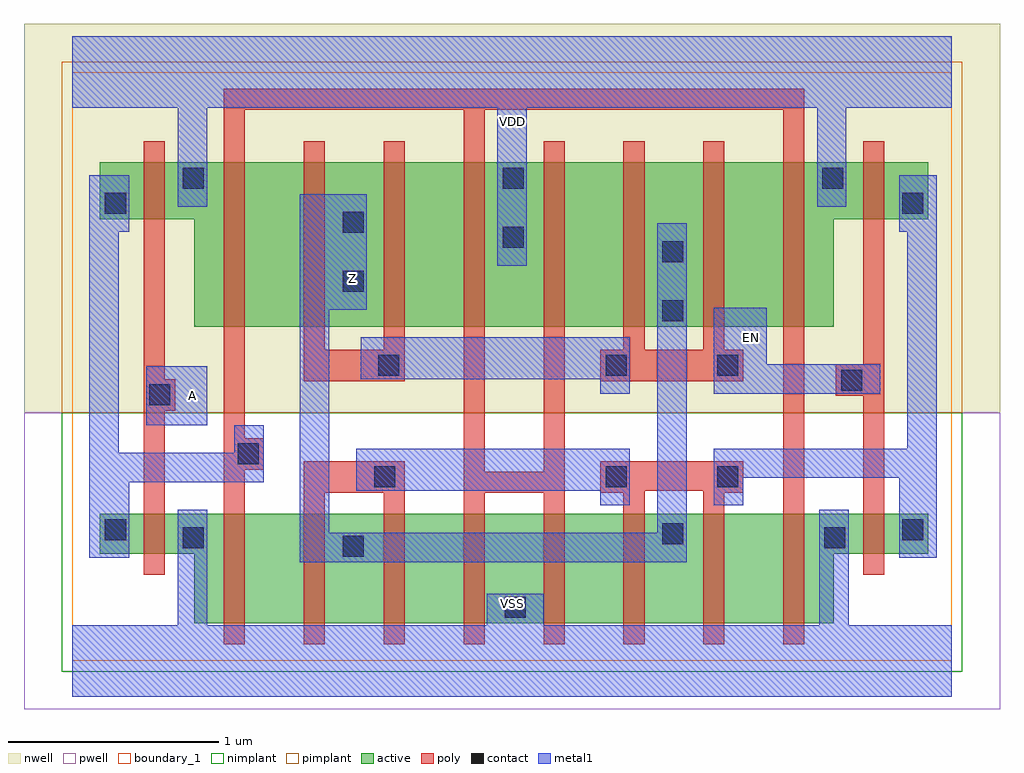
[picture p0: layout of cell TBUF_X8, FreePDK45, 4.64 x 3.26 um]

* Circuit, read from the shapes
.subckt TBUF_X8 A EN VDD VSS Z
M1 VSS A n1 VSUBS nfet w=0.19u l=0.1u
M2 n2 n1 VSS VSUBS nfet w=0.52u l=0.1u
M3 Z n3 n2 VSUBS nfet w=0.52u l=0.1u
M4 n4 n3 Z VSUBS nfet w=0.52u l=0.1u
M5 VSS n1 n4 VSUBS nfet w=0.52u l=0.1u
M6 n5 n1 VSS VSUBS nfet w=0.52u l=0.1u
M7 Z n3 n5 VSUBS nfet w=0.52u l=0.1u
M8 n6 n3 Z VSUBS nfet w=0.52u l=0.1u
M9 VSS n1 n6 VSUBS nfet w=0.52u l=0.1u
M10 n3 EN VSS VSUBS nfet w=0.19u l=0.1u
M11 VDD A n1 n7 pfet w=0.27u l=0.1u
M12 n8 n1 VDD n7 pfet w=0.78u l=0.1u
M13 Z EN n8 n7 pfet w=0.78u l=0.1u
M14 n9 EN Z n7 pfet w=0.78u l=0.1u
M15 VDD n1 n9 n7 pfet w=0.78u l=0.1u
M16 n10 n1 VDD n7 pfet w=0.78u l=0.1u
M17 Z EN n10 n7 pfet w=0.78u l=0.1u
M18 n11 EN Z n7 pfet w=0.78u l=0.1u
M19 VDD n1 n11 n7 pfet w=0.78u l=0.1u
M20 n3 EN VDD n7 pfet w=0.27u l=0.1u
.ends

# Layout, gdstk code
import gdstk
lib = gdstk.Library(unit=1e-6, precision=1e-09)
def R(c, l, rs):  # rectangles x0, y0, x1, y1
    for r in rs: c.add(gdstk.rectangle(r[:2], r[2:], *l))
def A(c, l, x, y, w, h, nx, ny, dx, dy):  # array of equal rectangles
    R(c, l, [(x+i*dx, y+j*dy, x+i*dx+w, y+j*dy+h) for i in range(nx) for j in range(ny)])
def P(c, l, *ps):  # polygons
    for p in ps: c.add(gdstk.Polygon(p, *l))
active = (1, 0)
pwell = (2, 0)
nwell = (3, 0)
nimplant = (4, 0)
pimplant = (5, 0)
poly = (9, 0)
contact = (10, 0)
metal1 = (11, 0)
boundary_1 = (235, 1)

tbuf_x8 = lib.new_cell('TBUF_X8')
P(tbuf_x8, active, [(0.13,2.1),(0.58,2.1),(0.58,1.59),(3.62,1.59),(3.62,2.1),(4.07,2.1),(4.07,2.37),(0.13,2.37)],
  [(0.13,0.51),(0.58,0.51),(0.58,0.18),(3.62,0.18),(3.62,0.51),(4.07,0.51),(4.07,0.7),(0.13,0.7)])
R(tbuf_x8, pwell, [(-0.23,-0.23,4.41,1.18)])
R(tbuf_x8, nwell, [(-0.23,1.18,4.41,3.03)])
R(tbuf_x8, nimplant, [(-0.05,-0.05,4.23,1.18)])
R(tbuf_x8, pimplant, [(-0.05,1.18,4.23,2.85)])
P(tbuf_x8, poly, [(3.63,1.26),(3.76,1.26),(3.76,0.41),(3.86,0.41),(3.86,2.47),(3.76,2.47),(3.76,1.41),(3.63,1.41)],
  [(1.96,2.62),(3.38,2.62),(3.38,0.08),(3.48,0.08),(3.48,2.72),(0.72,2.72),(0.72,0.08),(0.82,0.08),(0.82,0.91),(0.91,0.91),(0.91,1.06),(0.82,1.06),(0.82,2.62),(1.86,2.62),(1.86,0.08),(1.96,0.08),(1.96,0.8),(2.24,0.8),(2.24,0.08),(2.34,0.08),(2.34,2.47),(2.24,2.47),(2.24,0.9),(1.96,0.9)],
  [(2.51,1.33),(3.19,1.33),(3.19,1.48),(3.1,1.48),(3.1,2.47),(3,2.47),(3,1.48),(2.72,1.48),(2.72,2.47),(2.62,2.47),(2.62,1.48),(2.51,1.48)],
  [(2.51,0.8),(2.62,0.8),(2.62,0.08),(2.72,0.08),(2.72,0.81),(3,0.81),(3,0.08),(3.1,0.08),(3.1,0.8),(3.19,0.8),(3.19,0.95),(2.51,0.95)],
  [(1.1,1.33),(1.58,1.33),(1.58,2.47),(1.48,2.47),(1.48,1.48),(1.2,1.48),(1.2,2.47),(1.1,2.47)],
  [(1.1,0.08),(1.2,0.08),(1.2,0.8),(1.48,0.8),(1.48,0.08),(1.58,0.08),(1.58,0.95),(1.1,0.95)],
  [(0.34,0.41),(0.44,0.41),(0.44,1.19),(0.49,1.19),(0.49,1.34),(0.44,1.34),(0.44,2.47),(0.34,2.47)])
A(tbuf_x8, contact, 0.525, 2.245, 0.1, 0.1, 3, 1, 1.52, 0)
R(tbuf_x8, contact, [(2.055,0.205,2.155,0.305), (1.285,0.495,1.385,0.595), (0.525,0.535,0.625,0.635), (3.575,0.535,3.675,0.635), (2.805,0.555,2.905,0.655), (0.155,0.575,0.255,0.675), (3.945,0.575,4.045,0.675), (1.435,0.825,1.535,0.925), (2.535,0.825,2.635,0.925), (3.065,0.825,3.165,0.925), (0.785,0.935,0.885,1.035), (0.365,1.215,0.465,1.315), (3.655,1.285,3.755,1.385), (1.455,1.355,1.555,1.455), (2.535,1.355,2.635,1.455), (3.065,1.355,3.165,1.455), (2.805,1.615,2.905,1.715), (1.285,1.755,1.385,1.855), (2.805,1.895,2.905,1.995), (2.045,1.965,2.145,2.065), (1.285,2.035,1.385,2.135), (0.155,2.125,0.255,2.225), (3.945,2.125,4.045,2.225)])
R(tbuf_x8, metal1, [(0.35,1.12,0.64,1.4), (0.35,1.12,0.64,1.4)])
P(tbuf_x8, metal1, [(3.05,1.27),(3.84,1.27),(3.84,1.41),(3.3,1.41),(3.3,1.68),(3.05,1.68)],
  [(1.37,1.34),(2.51,1.34),(2.51,1.27),(2.65,1.27),(2.65,1.54),(1.37,1.54)],
  [(0,-0.17),(4.18,-0.17),(4.18,0.17),(3.69,0.17),(3.69,0.72),(3.55,0.72),(3.55,0.17),(2.24,0.17),(2.24,0.32),(1.97,0.32),(1.97,0.17),(0.64,0.17),(0.64,0.72),(0.5,0.72),(0.5,0.17),(0,0.17)],
  [(0,2.63),(0.5,2.63),(0.5,2.16),(0.64,2.16),(0.64,2.63),(2.02,2.63),(2.02,1.88),(2.16,1.88),(2.16,2.63),(3.54,2.63),(3.54,2.16),(3.68,2.16),(3.68,2.63),(4.18,2.63),(4.18,2.97),(0,2.97)],
  [(1.08,0.47),(2.92,0.47),(2.92,2.08),(2.78,2.08),(2.78,0.61),(1.22,0.61),(1.22,1.67),(1.4,1.67),(1.4,2.22),(1.08,2.22)],
  [(0,2.63),(0.5,2.63),(0.5,2.16),(0.64,2.16),(0.64,2.63),(2.02,2.63),(2.02,1.88),(2.16,1.88),(2.16,2.63),(3.54,2.63),(3.54,2.16),(3.68,2.16),(3.68,2.63),(4.18,2.63),(4.18,2.97),(0,2.97)],
  [(0,-0.17),(4.18,-0.17),(4.18,0.17),(3.69,0.17),(3.69,0.72),(3.55,0.72),(3.55,0.17),(2.24,0.17),(2.24,0.32),(1.97,0.32),(1.97,0.17),(0.64,0.17),(0.64,0.72),(0.5,0.72),(0.5,0.17),(0,0.17)],
  [(3.93,2.04),(3.97,2.04),(3.97,1.01),(3.05,1.01),(3.05,0.74),(3.19,0.74),(3.19,0.87),(3.93,0.87),(3.93,0.49),(4.11,0.49),(4.11,2.31),(3.93,2.31)],
  [(3.05,1.27),(3.84,1.27),(3.84,1.41),(3.3,1.41),(3.3,1.68),(3.05,1.68)],
  [(1.08,0.47),(2.92,0.47),(2.92,2.08),(2.78,2.08),(2.78,0.61),(1.22,0.61),(1.22,1.67),(1.4,1.67),(1.4,2.22),(1.08,2.22)],
  [(1.37,1.34),(2.51,1.34),(2.51,1.27),(2.65,1.27),(2.65,1.54),(1.37,1.54)],
  [(1.35,0.81),(2.51,0.81),(2.51,0.74),(2.65,0.74),(2.65,1.01),(1.35,1.01)],
  [(0.08,0.49),(0.27,0.49),(0.27,0.85),(0.91,0.85),(0.91,1.12),(0.77,1.12),(0.77,0.99),(0.22,0.99),(0.22,2.04),(0.27,2.04),(0.27,2.31),(0.08,2.31)])
R(tbuf_x8, boundary_1, [(0,0,4.18,2.8)])
tbuf_x8.add(gdstk.Label('Z', (1.33,1.82), layer=11, texttype=0))
tbuf_x8.add(gdstk.Label('VSS', (2.09,0.275), layer=11, texttype=0))
tbuf_x8.add(gdstk.Label('VDD', (2.09,2.565), layer=11, texttype=0))
tbuf_x8.add(gdstk.Label('EN', (3.23,1.54), layer=11, texttype=0))
tbuf_x8.add(gdstk.Label('A', (0.57,1.26), layer=11, texttype=0))

lib.write_gds('TBUF_X8.gds')
